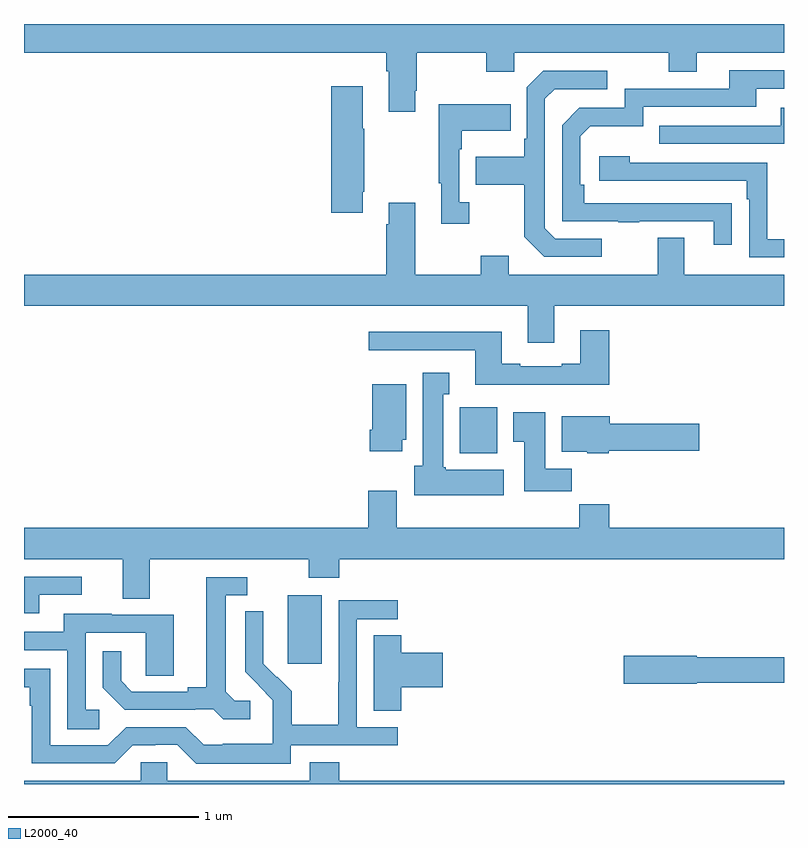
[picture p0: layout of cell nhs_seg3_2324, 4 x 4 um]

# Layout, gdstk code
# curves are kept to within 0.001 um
import gdstk
lib = gdstk.Library(unit=1e-6, precision=1e-09)
def R(c, l, rs):  # rectangles x0, y0, x1, y1
    for r in rs: c.add(gdstk.rectangle(r[:2], r[2:], *l))
def P(c, l, *ps):  # polygons
    for p in ps: c.add(gdstk.Polygon(p, *l))
L2000_40 = (2000, 40)

nhs_seg3_2324 = lib.new_cell('nhs_seg3_2324')
R(nhs_seg3_2324, L2000_40, [(232.388,699.033,232.567,699.394), (233.294,700.142,233.491,700.384)])
P(nhs_seg3_2324, L2000_40, [(233.059,702.049),(233.067,702.049),(233.067,702.248),(233.434,702.248),(233.434,702.149),(233.58,702.149),(233.58,702.248),(234.394,702.248),(234.394,702.149),(234.541,702.149),(234.541,702.248),(235,702.248),(235,702.4),(231,702.4),(231,702.248),(232.907,702.248),(232.907,702.152),(232.919,702.152),(232.919,701.937),(233.059,701.937)],
  [(234.725,701.456),(233.948,701.457),(233.948,701.554),(233.928,701.554),(233.928,701.808),(233.981,701.861),(234.258,701.861),(234.258,701.964),(234.853,701.964),(234.853,702.06),(235,702.06),(235,702.156),(234.713,702.156),(234.713,702.06),(234.162,702.06),(234.162,701.958),(233.922,701.958),(233.832,701.868),(233.832,701.361),(234.127,701.361),(234.127,701.356),(234.239,701.356),(234.239,701.361),(234.629,701.361),(234.629,701.238),(234.725,701.238)],
  [(234.04,701.271),(233.796,701.271),(233.742,701.325),(233.742,702.006),(233.793,702.057),(234.07,702.057),(234.07,702.153),(233.733,702.153),(233.646,702.066),(233.646,701.797),(233.634,701.797),(233.634,701.701),(233.377,701.701),(233.377,701.554),(233.634,701.554),(233.634,701.281),(233.739,701.175),(234.04,701.175)],
  [(232.783,701.518),(232.791,701.518),(232.791,701.849),(232.783,701.849),(232.783,702.073),(232.616,702.073),(232.616,701.406),(232.783,701.406)],
  [(233.344,701.462),(233.292,701.462),(233.292,701.741),(233.305,701.741),(233.305,701.837),(233.561,701.837),(233.561,701.977),(233.184,701.977),(233.184,701.561),(233.195,701.561),(233.195,701.349),(233.344,701.349)],
  [(235,701.959),(234.983,701.959),(234.983,701.865),(234.343,701.865),(234.343,701.769),(235,701.769)],
  [(235,701.268),(234.912,701.268),(234.912,701.67),(234.188,701.67),(234.188,701.704),(234.027,701.704),(234.027,701.574),(234.803,701.574),(234.803,701.477),(234.816,701.477),(234.816,701.172),(235,701.172)],
  [(233.791,700.916),(235,700.916),(235,701.08),(234.475,701.08),(234.475,701.275),(234.335,701.275),(234.335,701.08),(233.551,701.08),(233.551,701.179),(233.404,701.179),(233.404,701.08),(233.059,701.08),(233.059,701.458),(232.919,701.458),(232.919,701.345),(232.907,701.345),(232.907,701.08),(231,701.08),(231,700.916),(233.651,700.916),(233.651,700.722),(233.791,700.722)],
  [(234.08,700.789),(233.927,700.789),(233.927,700.612),(233.831,700.612),(233.831,700.599),(233.611,700.599),(233.611,700.612),(233.515,700.612),(233.515,700.78),(232.815,700.78),(232.815,700.683),(233.375,700.683),(233.375,700.502),(234.08,700.502)],
  [(233.524,700.054),(233.22,700.054),(233.22,700.068),(233.206,700.068),(233.206,700.451),(233.239,700.451),(233.239,700.564),(233.099,700.564),(233.099,700.074),(233.054,700.074),(233.054,699.92),(233.524,699.92)],
  [(232.99,700.212),(233.011,700.212),(233.011,700.504),(232.832,700.504),(232.832,700.264),(232.82,700.264),(232.82,700.152),(232.99,700.152)],
  [(233.882,700.06),(233.743,700.06),(233.743,700.357),(233.576,700.357),(233.576,700.201),(233.633,700.201),(233.633,699.942),(233.882,699.942)],
  [(234.078,700.153),(234.553,700.153),(234.553,700.295),(234.082,700.295),(234.082,700.336),(233.831,700.336),(233.831,700.148),(233.964,700.148),(233.964,700.142),(234.078,700.142)],
  [(231.661,699.584),(232.498,699.584),(232.498,699.485),(232.658,699.485),(232.658,699.584),(235,699.584),(235,699.748),(234.08,699.748),(234.08,699.872),(233.923,699.872),(233.923,699.748),(232.963,699.748),(232.963,699.943),(232.811,699.943),(232.811,699.748),(231,699.748),(231,699.584),(231.521,699.584),(231.521,699.376),(231.661,699.376)],
  [(231.079,699.396),(231.304,699.396),(231.304,699.492),(231,699.492),(231,699.3),(231.079,699.3)],
  [(232.192,698.838),(232.11,698.838),(232.063,698.885),(232.063,699.393),(232.174,699.393),(232.174,699.489),(231.959,699.489),(231.959,698.909),(231.863,698.909),(231.863,698.886),(231.568,698.886),(231.511,698.943),(231.511,699.1),(231.414,699.1),(231.414,698.906),(231.53,698.79),(231.902,698.79),(231.902,698.793),(231.996,698.793),(232.048,698.741),(232.192,698.741)],
  [(232.404,698.604),(232.966,698.604),(232.966,698.7),(232.752,698.7),(232.752,699.267),(232.966,699.267),(232.966,699.366),(232.656,699.366),(232.656,698.936),(232.654,698.936),(232.654,698.713),(232.409,698.713),(232.409,698.887),(232.332,698.964),(232.329,698.961),(232.259,699.032),(232.26,699.308),(232.164,699.308),(232.164,698.99),(232.31,698.842),(232.31,698.745),(232.308,698.745),(232.308,698.611),(232.045,698.611),(232.045,698.607),(231.945,698.607),(231.852,698.7),(231.537,698.7),(231.441,698.604),(231.138,698.604),(231.138,699.006),(231,699.006),(231,698.91),(231.029,698.91),(231.029,698.813),(231.042,698.813),(231.042,698.508),(231.477,698.508),(231.573,698.604),(231.692,698.604),(231.692,698.607),(231.807,698.607),(231.907,698.507),(232.404,698.507)],
  [(231.397,698.79),(231.324,698.79),(231.324,699.195),(231.642,699.195),(231.642,698.971),(231.787,698.971),(231.787,699.291),(231.463,699.291),(231.463,699.295),(231.209,699.295),(231.209,699.201),(231,699.201),(231,699.105),(231.228,699.105),(231.228,698.689),(231.397,698.689)],
  [(232.985,698.909),(233.203,698.909),(233.203,699.092),(232.985,699.092),(232.985,699.182),(232.841,699.182),(232.841,698.785),(232.985,698.785)],
  [(234.54,698.932),(235,698.932),(235,699.068),(234.54,699.068),(234.54,699.074),(234.156,699.074),(234.156,698.927),(234.54,698.927)],
  [(235,698.416),(232.658,698.416),(232.658,698.515),(232.505,698.515),(232.505,698.416),(231.753,698.416),(231.753,698.514),(231.615,698.514),(231.615,698.416),(231,698.416),(231,698.4),(235,698.4)])

lib.write_gds('nhs_seg3_2324.gds')
